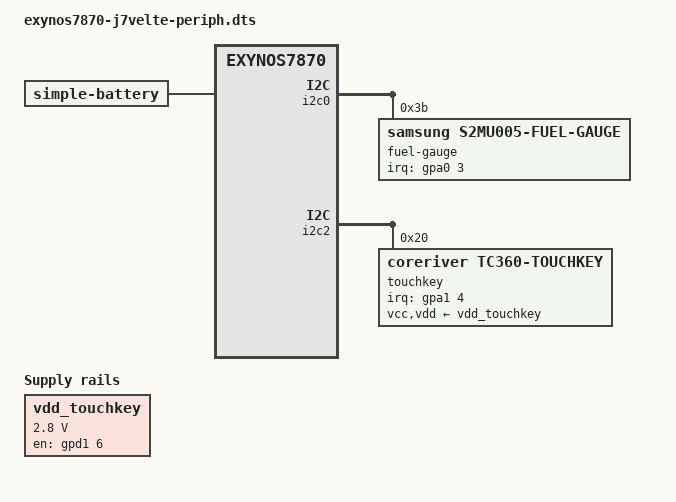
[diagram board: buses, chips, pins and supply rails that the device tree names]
// SPDX-License-Identifier: GPL-2.0-only
/* Written by Claude 2026-10-09. Wi-Fi tree plus battery gauge and touch keys.
 *
 * Fuel gauge: live vendor node "samsung,s2mu005-fuelgauge", reg 0x3b on
 * i2c@13830000, alert on gpa0-3, capacity_full 3000 mAh. Driven by the 7.1
 * "samsung,s2mu005-fuel-gauge" driver. There is no S2MU005 charger driver in
 * this kernel: charging stays under whatever the chip/bootloader defaults do.
 *
 * Touch keys: live vendor node "coreriver,tc300-keypad" (firmware tc350k_j7ve,
 * use_bitmap = 1) at 0x20 on i2c@13850000, interrupt gpa1-4, supply
 * "vtouch_2.8v" switched by gpd1-6. tm2-touchkey's tc360 variant is the closest
 * mainline driver; whether its event format matches is UNTESTED (needs a
 * finger on the keys).
 */
#include "exynos7870-j7velte-wifi.dts"

/ {
    battery: battery {
        compatible = "simple-battery";
        device-chemistry = "lithium-ion";
        charge-full-design-microamp-hours = <3000000>;
    };

    vdd_touchkey: regulator-touchkey {
        compatible = "regulator-fixed";
        regulator-name = "vtouch_2.8v";
        regulator-min-microvolt = <2800000>;
        regulator-max-microvolt = <2800000>;
        gpio = <&gpd1 6 GPIO_ACTIVE_HIGH>;
        enable-active-high;
    };
};

&i2c0 {
    #address-cells = <1>;
    #size-cells = <0>;
    samsung,i2c-sda-delay = <100>;
    samsung,i2c-max-bus-freq = <400000>;
    status = "okay";

    fuel-gauge@3b {
        compatible = "samsung,s2mu005-fuel-gauge";
        reg = <0x3b>;
        interrupt-parent = <&gpa0>;
        interrupts = <3 IRQ_TYPE_EDGE_BOTH>;
        pinctrl-names = "default";
        pinctrl-0 = <&fuel_irq>;
        monitored-battery = <&battery>;
    };
};

&i2c2 {
    #address-cells = <1>;
    #size-cells = <0>;
    samsung,i2c-sda-delay = <100>;
    samsung,i2c-max-bus-freq = <100000>;
    status = "okay";

    touchkey@20 {
        compatible = "coreriver,tc360-touchkey";
        reg = <0x20>;
        interrupt-parent = <&gpa1>;
        interrupts = <4 IRQ_TYPE_EDGE_FALLING>;
        pinctrl-names = "default";
        pinctrl-0 = <&touchkey_irq>;
        vcc-supply = <&vdd_touchkey>;
        vdd-supply = <&vdd_touchkey>;
        /* Vendor bitmap table: bit 0 recents, bit 1 back; releases in bits 4/5.
         * Handled by kernel/patches/linux-tm2-touchkey-bitmap-events.patch. */
        j701f,bitmap-events;
        /* Recents is reported as KEY_PROG1 (Qt "Launch (1)"), which the session binds
         * to the Mobile Task Switcher; Plasma has no binding for KEY_APPSELECT. */
        linux,keycodes = <KEY_PROG1 KEY_BACK>;
    };
};

&pinctrl_alive {
    fuel_irq: fuel-irq-pins {
        samsung,pins = "gpa0-3";
        samsung,pin-function = <EXYNOS_PIN_FUNC_EINT>;
        samsung,pin-pud = <EXYNOS_PIN_PULL_NONE>;
    };

    touchkey_irq: touchkey-irq-pins {
        samsung,pins = "gpa1-4";
        samsung,pin-function = <EXYNOS_PIN_FUNC_EINT>;
        samsung,pin-pud = <EXYNOS_PIN_PULL_NONE>;
    };
};
